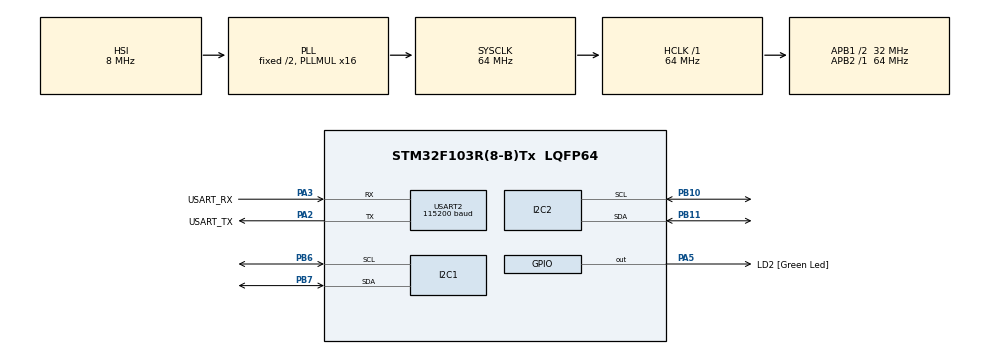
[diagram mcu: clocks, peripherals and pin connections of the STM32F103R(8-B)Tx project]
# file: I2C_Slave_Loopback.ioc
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I2C1.I2C_Mode=I2C_Standard
I2C2.I2C_Mode=I2C_Standard
I2C2.OwnAddress1=100
Mcu.Family=STM32F1
Mcu.Name=STM32F103R(8-B)Tx
Mcu.Package=LQFP64
NVIC.I2C2_ER_IRQn=true\:0\:0\:false\:false\:true\:true\:true\:true
NVIC.I2C2_EV_IRQn=true\:0\:0\:false\:false\:true\:true\:true\:true
NVIC.PriorityGroup=NVIC_PRIORITYGROUP_4
PA13.GPIO_Label=TMS
PA13.Mode=Serial_Wire
PA13.Signal=SYS_JTMS-SWDIO
PA14.GPIO_Label=TCK
PA14.Mode=Serial_Wire
PA14.Signal=SYS_JTCK-SWCLK
PA2.GPIO_Label=USART_TX
PA2.GPIO_Mode=GPIO_MODE_AF_PP
PA2.GPIO_PuPd=GPIO_NOPULL
PA2.GPIO_Speed=GPIO_SPEED_FREQ_LOW
PA2.Mode=Asynchronous
PA2.Signal=USART2_TX
PA3.GPIO_Label=USART_RX
PA3.GPIO_PuPd=GPIO_NOPULL
PA3.GPIO_Speed=GPIO_SPEED_FREQ_LOW
PA3.Mode=Asynchronous
PA3.Signal=USART2_RX
PA5.GPIO_Label=LD2 [Green Led]
PA5.GPIO_ModeDefaultOutputPP=GPIO_MODE_OUTPUT_PP
PA5.GPIO_PuPd=GPIO_NOPULL
PA5.GPIO_Speed=GPIO_SPEED_FREQ_LOW
PA5.Signal=GPIO_Output
PB10.Mode=I2C
PB10.Signal=I2C2_SCL
PB11.Mode=I2C
PB11.Signal=I2C2_SDA
PB3.GPIO_Label=SWO
PB3.Signal=SYS_JTDO-TRACESWO
PB6.Mode=I2C
PB6.Signal=I2C1_SCL
PB7.Mode=I2C
PB7.Signal=I2C1_SDA
PC14-OSC32_IN.Mode=LSE-External-Oscillator
PC14-OSC32_IN.Signal=RCC_OSC32_IN
PC15-OSC32_OUT.Mode=LSE-External-Oscillator
PC15-OSC32_OUT.Signal=RCC_OSC32_OUT
PD0-OSC_IN.Mode=HSE-External-Clock-Source
PD0-OSC_IN.Signal=RCC_OSC_IN
PD1-OSC_OUT.Mode=HSE-External-Clock-Source
PD1-OSC_OUT.Signal=RCC_OSC_OUT
ProjectManager.HeapSize=0x200
ProjectManager.StackSize=0x400
ProjectManager.TargetToolchain=STM32CubeIDE
RCC.AHBFreq_Value=64000000
RCC.APB1CLKDivider=RCC_HCLK_DIV2
RCC.APB1Freq_Value=32000000
RCC.APB1TimFreq_Value=64000000
RCC.APB2Freq_Value=64000000
RCC.APB2TimFreq_Value=64000000
RCC.HCLKFreq_Value=64000000
RCC.PLLMUL=RCC_PLL_MUL16
RCC.RTCClockSelection=RCC_RTCCLKSOURCE_LSE
RCC.SYSCLKFreq_VALUE=64000000
RCC.SYSCLKSource=RCC_SYSCLKSOURCE_PLLCLK
RCC.USBFreq_Value=64000000
USART2.BaudRate=115200
USART2.VirtualMode=VM_ASYNC
board=NUCLEO-F103RB

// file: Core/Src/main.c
/* USER CODE BEGIN Header */
/**
 ******************************************************************************
 * @file           : main.c
 * @brief          : Main program body
 ******************************************************************************
 * @attention
 *
 * Copyright (c) 2026 STMicroelectronics.
 * All rights reserved.
 *
 * This software is licensed under terms that can be found in the LICENSE file
 * in the root directory of this software component.
 * If no LICENSE file comes with this software, it is provided AS-IS.
 *
 ******************************************************************************
 */
/**
 * 03_I2C_Slave_Loopback_c  —  [계층: HAL]  I2C 슬레이브 모드: 보드 한 장 안에서 I2C1(마스터) <-> I2C2(슬레이브) 시험
 *
 * 배선 (점퍼선 2개 + 풀업)
 *   PB6 (I2C1_SCL) ---- PB10 (I2C2_SCL)
 *   PB7 (I2C1_SDA) ---- PB11 (I2C2_SDA)
 *   SCL, SDA 각각 3.3V 로 4.7kΩ 풀업 권장 (내부 풀업만으로는 100kHz 에서 신호가 둔해질 수 있다)
 *
 * 역할
 *   I2C1 = 마스터,  I2C2 = 슬레이브 (7비트 주소 0x32). 슬레이브는 16바이트 "레지스터 파일"을 가진 가상 센서처럼 동작한다.
 *   전송 규약(모든 프레임 길이를 고정해 HAL 순차 API 로 단순하게 처리):
 *     쓰기  : 마스터가 2바이트 [reg, value] 송신          -> regs[reg] = value
 *     읽기  : 마스터가 2바이트 [0x80|reg, 0] 송신(포인터 설정) -> 이어서 4바이트 수신 = regs[reg .. reg+3]
 *
 * 이 예제가 보여주는 것
 *   - HAL_I2C_EnableListen_IT(): 슬레이브가 자기 주소 호출을 기다리는 상태(리슨)
 *   - 주소 일치 콜백(HAL_I2C_AddrCallback)에서 방향(TransferDirection)에 따라 수신/송신을 시작하는 슬레이브 순차 API
 *   - 전송이 끝나면 다시 리슨으로 복귀 (ListenCplt 콜백) — 슬레이브가 항상 응답 가능한 상태를 유지하는 구조
 *   결과: 마스터가 쓴 값을 읽어 되돌려 받아 일치하는지 검증하고 UART(115200)로 PASS/FAIL 출력.
 *
 * 하드웨어 대응
 *   I2C2->OAR1 : 자기 주소(0x32<<1),  CR1.ACK/ENGC,  SR1.ADDR(주소 일치)/RXNE/TXE/STOPF/AF,  CR2.ITEVTEN/ITERREN/ITBUFEN
 *   슬레이브는 클럭 스트레칭(SCL 을 잡고 대기)으로 처리 시간을 확보한다 (NoStretchMode = DISABLE)
 *
 * ISR vs 콜백
 *   I2C2_EV_IRQHandler / I2C2_ER_IRQHandler (stm32f1xx_it.c, 진짜 ISR) -> HAL_I2C_EV_IRQHandler / HAL_I2C_ER_IRQHandler
 *     -> HAL_I2C_AddrCallback / HAL_I2C_SlaveRxCpltCallback / HAL_I2C_SlaveTxCpltCallback / HAL_I2C_ListenCpltCallback / ErrorCallback (이 파일)
 */
/* USER CODE END Header */
#include "main.h"

/* USER CODE BEGIN Includes */
#include <stdio.h>
#include <string.h>
/* USER CODE END Includes */

/* USER CODE BEGIN PD */
#define SLAVE_ADDR (0x32 << 1)

/* USER CODE END PD */

I2C_HandleTypeDef hi2c1;
I2C_HandleTypeDef hi2c2;
UART_HandleTypeDef huart2;

/* USER CODE BEGIN PV */
/* hi2c1 = 마스터, hi2c2 = 슬레이브 */
static uint8_t regs[16];               /* 슬레이브의 가상 레지스터 파일 */
static uint8_t rx_frame[2];            /* 슬레이브가 받은 2바이트 [reg, value] */
static uint8_t ptr;                    /* 읽기 포인터 */
static volatile uint32_t slave_writes, slave_reads;
/* USER CODE END PV */

void SystemClock_Config(void);
static void MX_GPIO_Init(void);
static void MX_I2C1_Init(void);
static void MX_I2C2_Init(void);
static void MX_USART2_UART_Init(void);

int main(void)
{

  /* MCU Configuration--------------------------------------------------------*/

  /* Reset of all peripherals, Initializes the Flash interface and the Systick. */
  HAL_Init();

  /* Configure the system clock */
  SystemClock_Config();

  /* Initialize all configured peripherals */
  MX_GPIO_Init();
  MX_I2C1_Init();
  MX_I2C2_Init();
  MX_USART2_UART_Init();
  /* USER CODE BEGIN 2 */
  if (HAL_I2C_EnableListen_IT(&hi2c2) != HAL_OK) Error_Handler();    /* 슬레이브: 주소 호출 대기 시작 */

  char msg[112];
  uint32_t pass = 0, fail = 0;
  uint32_t round = 0;
  /* USER CODE END 2 */

  /* Infinite loop */
  while (1)
  {

    /* USER CODE BEGIN 3 */
    uint8_t reg = (uint8_t)(round % 12);                           /* reg .. reg+3 이 배열 안에 있도록 */
    uint8_t val = (uint8_t)(0xA0 + (round & 0x0F));

    /* 쓰기: [reg, val] */
    uint8_t wr[2] = { reg, val };
    HAL_StatusTypeDef s1 = HAL_I2C_Master_Transmit(&hi2c1, SLAVE_ADDR, wr, 2, 50);

    /* 읽기: [0x80|reg, 0] 로 포인터 설정 후 4바이트 수신 */
    uint8_t setp[2] = { (uint8_t)(0x80 | reg), 0 };
    uint8_t got[4] = {0};
    HAL_StatusTypeDef s2 = HAL_I2C_Master_Transmit(&hi2c1, SLAVE_ADDR, setp, 2, 50);
    HAL_StatusTypeDef s3 = HAL_I2C_Master_Receive(&hi2c1, SLAVE_ADDR, got, 4, 50);

    int ok = (s1 == HAL_OK && s2 == HAL_OK && s3 == HAL_OK && got[0] == val);
    if (ok) pass++; else fail++;

    int n = snprintf(msg, sizeof msg, "wrote regs[%u]=0x%02X, read back 0x%02X 0x%02X 0x%02X 0x%02X  %s  (slave writes=%lu reads=%lu, pass=%lu fail=%lu)\r\n",
                     reg, val, got[0], got[1], got[2], got[3], ok ? "PASS" : "FAIL",
                     (unsigned long)slave_writes, (unsigned long)slave_reads, (unsigned long)pass, (unsigned long)fail);
    HAL_UART_Transmit(&huart2, (uint8_t *)msg, (uint16_t)n, 100);
    HAL_Delay(500);
    round++;
  }
  /* USER CODE END 3 */
}

void SystemClock_Config(void)
{
  RCC_OscInitTypeDef RCC_OscInitStruct = {0};
  RCC_ClkInitTypeDef RCC_ClkInitStruct = {0};

  /** Initializes the RCC Oscillators according to the specified parameters
  * in the RCC_OscInitTypeDef structure.
  */
  RCC_OscInitStruct.OscillatorType = RCC_OSCILLATORTYPE_HSI;
  RCC_OscInitStruct.HSIState = RCC_HSI_ON;
  RCC_OscInitStruct.HSICalibrationValue = RCC_HSICALIBRATION_DEFAULT;
  RCC_OscInitStruct.PLL.PLLState = RCC_PLL_ON;
  RCC_OscInitStruct.PLL.PLLSource = RCC_PLLSOURCE_HSI_DIV2;
  RCC_OscInitStruct.PLL.PLLMUL = RCC_PLL_MUL16;
  if (HAL_RCC_OscConfig(&RCC_OscInitStruct) != HAL_OK)
  {
    Error_Handler();
  }

  /** Initializes the CPU, AHB and APB buses clocks
  */
  RCC_ClkInitStruct.ClockType = RCC_CLOCKTYPE_HCLK|RCC_CLOCKTYPE_SYSCLK
                              |RCC_CLOCKTYPE_PCLK1|RCC_CLOCKTYPE_PCLK2;
  RCC_ClkInitStruct.SYSCLKSource = RCC_SYSCLKSOURCE_PLLCLK;
  RCC_ClkInitStruct.AHBCLKDivider = RCC_SYSCLK_DIV1;
  RCC_ClkInitStruct.APB1CLKDivider = RCC_HCLK_DIV2;
  RCC_ClkInitStruct.APB2CLKDivider = RCC_HCLK_DIV1;

  if (HAL_RCC_ClockConfig(&RCC_ClkInitStruct, FLASH_LATENCY_2) != HAL_OK)
  {
    Error_Handler();
  }
}

static void MX_I2C1_Init(void)
{

  hi2c1.Instance = I2C1;
  hi2c1.Init.ClockSpeed = 100000;
  hi2c1.Init.DutyCycle = I2C_DUTYCYCLE_2;
  hi2c1.Init.OwnAddress1 = 0;
  hi2c1.Init.AddressingMode = I2C_ADDRESSINGMODE_7BIT;
  hi2c1.Init.DualAddressMode = I2C_DUALADDRESS_DISABLE;
  hi2c1.Init.OwnAddress2 = 0;
  hi2c1.Init.GeneralCallMode = I2C_GENERALCALL_DISABLE;
  hi2c1.Init.NoStretchMode = I2C_NOSTRETCH_DISABLE;
  if (HAL_I2C_Init(&hi2c1) != HAL_OK)
  {
    Error_Handler();
  }
  /* USER CODE BEGIN I2C1_Init 2 */
  /* I2C1 = 마스터 (자기 주소 없음). 100kHz 표준 모드: I2C1->CR2.FREQ = 32(APB1 MHz), CCR/TRISE 는 HAL 이 계산 */
  /* USER CODE END I2C1_Init 2 */

}

static void MX_I2C2_Init(void)
{

  hi2c2.Instance = I2C2;
  hi2c2.Init.ClockSpeed = 100000;
  hi2c2.Init.DutyCycle = I2C_DUTYCYCLE_2;
  hi2c2.Init.OwnAddress1 = 100;
  hi2c2.Init.AddressingMode = I2C_ADDRESSINGMODE_7BIT;
  hi2c2.Init.DualAddressMode = I2C_DUALADDRESS_DISABLE;
  hi2c2.Init.OwnAddress2 = 0;
  hi2c2.Init.GeneralCallMode = I2C_GENERALCALL_DISABLE;
  hi2c2.Init.NoStretchMode = I2C_NOSTRETCH_DISABLE;
  if (HAL_I2C_Init(&hi2c2) != HAL_OK)
  {
    Error_Handler();
  }
  /* USER CODE BEGIN I2C2_Init 2 */
  /* I2C2 = 슬레이브. OwnAddress1 = 100 = SLAVE_ADDR(0x32 << 1)  -> I2C2->OAR1 (7비트 주소는 [7:1])
   * 클럭 스트레칭 사용 (CR1.NOSTRETCH = 0). 이벤트/오류 인터럽트는 HAL_I2C_MspInit 에서 NVIC 에 등록(I2C2_EV/ER). */
  /* USER CODE END I2C2_Init 2 */

}

static void MX_USART2_UART_Init(void)
{

  huart2.Instance = USART2;
  huart2.Init.BaudRate = 115200;
  huart2.Init.WordLength = UART_WORDLENGTH_8B;
  huart2.Init.StopBits = UART_STOPBITS_1;
  huart2.Init.Parity = UART_PARITY_NONE;
  huart2.Init.Mode = UART_MODE_TX_RX;
  huart2.Init.HwFlowCtl = UART_HWCONTROL_NONE;
  huart2.Init.OverSampling = UART_OVERSAMPLING_16;
  if (HAL_UART_Init(&huart2) != HAL_OK)
  {
    Error_Handler();
  }

}

static void MX_GPIO_Init(void)
{
  GPIO_InitTypeDef GPIO_InitStruct = {0};

  /* GPIO Ports Clock Enable */
  __HAL_RCC_GPIOC_CLK_ENABLE();
  __HAL_RCC_GPIOD_CLK_ENABLE();
  __HAL_RCC_GPIOA_CLK_ENABLE();
  __HAL_RCC_GPIOB_CLK_ENABLE();

  /*Configure GPIO pin Output Level */
  HAL_GPIO_WritePin(LD2_GPIO_Port, LD2_Pin, GPIO_PIN_RESET);

  /*Configure GPIO pin : LD2_Pin */
  GPIO_InitStruct.Pin = LD2_Pin;
  GPIO_InitStruct.Mode = GPIO_MODE_OUTPUT_PP;
  GPIO_InitStruct.Pull = GPIO_NOPULL;
  GPIO_InitStruct.Speed = GPIO_SPEED_FREQ_LOW;
  HAL_GPIO_Init(LD2_GPIO_Port, &GPIO_InitStruct);

}

/* USER CODE BEGIN 4 */
/* ------------------------------------------------------------------------- */
/* HAL 콜백 (ISR 문맥): I2C2 = 슬레이브                                          */
/* ------------------------------------------------------------------------- */
/* 마스터가 우리 주소를 불렀다. TransferDirection 은 "마스터 기준"이다:
   I2C_DIRECTION_TRANSMIT = 마스터가 쓴다(슬레이브는 수신), I2C_DIRECTION_RECEIVE = 마스터가 읽는다(슬레이브는 송신) */
void HAL_I2C_AddrCallback(I2C_HandleTypeDef *hi2c, uint8_t TransferDirection, uint16_t AddrMatchCode)
{
    (void)AddrMatchCode;
    if (hi2c->Instance != I2C2) return;
    if (TransferDirection == I2C_DIRECTION_TRANSMIT)
        HAL_I2C_Slave_Seq_Receive_IT(hi2c, rx_frame, 2, I2C_FIRST_AND_LAST_FRAME);
    else
    {
        HAL_I2C_Slave_Seq_Transmit_IT(hi2c, &regs[ptr & 0x0F], 4, I2C_FIRST_AND_LAST_FRAME);
        slave_reads++;
    }
}

/* 슬레이브 수신 완료: 2바이트 [reg, value] 처리 */
void HAL_I2C_SlaveRxCpltCallback(I2C_HandleTypeDef *hi2c)
{
    if (hi2c->Instance != I2C2) return;
    if (rx_frame[0] & 0x80) ptr = rx_frame[0] & 0x7F;                 /* 읽기용 포인터 설정 */
    else { regs[rx_frame[0] & 0x0F] = rx_frame[1]; slave_writes++; }  /* 레지스터 쓰기 */
}

/* 주소 호출 한 번의 전송이 모두 끝나면(STOP 또는 NACK) 다시 리슨으로 복귀해야 다음 호출에 응답한다 */
void HAL_I2C_ListenCpltCallback(I2C_HandleTypeDef *hi2c)
{
    if (hi2c->Instance == I2C2) HAL_I2C_EnableListen_IT(hi2c);
}

/* 슬레이브 송신에서 마스터가 마지막 바이트에 NACK 하는 것은 정상 종료 (AF). 그 외 오류도 리슨 복귀로 복구 */
void HAL_I2C_ErrorCallback(I2C_HandleTypeDef *hi2c)
{
    if (hi2c->Instance == I2C2)
    {
        if (HAL_I2C_GetError(hi2c) != HAL_I2C_ERROR_AF) { /* 필요 시 여기서 오류 통계 증가 */ }
        HAL_I2C_EnableListen_IT(hi2c);
    }
}
/* USER CODE END 4 */

void Error_Handler(void)
{
  __disable_irq();
  while (1) {
  }
}
#ifdef USE_FULL_ASSERT
/**
  * @brief  Reports the name of the source file and the source line number
  *         where the assert_param error has occurred.
  * @param  file: pointer to the source file name
  * @param  line: assert_param error line source number
  * @retval None
  */
void assert_failed(uint8_t *file, uint32_t line)
{
  /* USER CODE BEGIN 6 */
  /* User can add his own implementation to report the file name and line
     number, ex: printf("Wrong parameters value: file %s on line %d\r\n", file,
     line) */
  /* USER CODE END 6 */
}
#endif /* USE_FULL_ASSERT */
